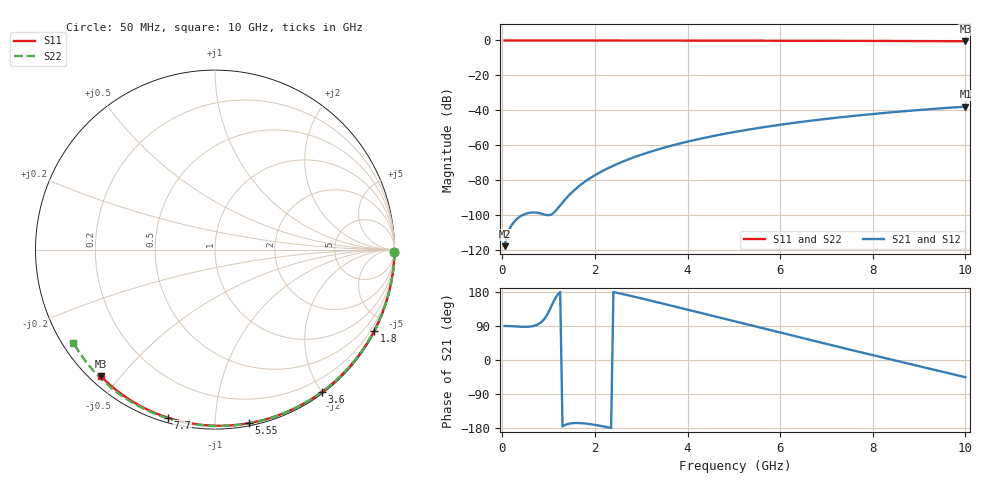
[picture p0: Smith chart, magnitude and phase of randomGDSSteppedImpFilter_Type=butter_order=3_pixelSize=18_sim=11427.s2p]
! freq	dB(S11)	phase(S11)	dB(S12)	phase(S12)
!  dB(S21)	phase(S21)	dB(S22)	phase(S22)
!S-par simulation data
#  GHz  S  DB  R 50
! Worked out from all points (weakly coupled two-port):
!   200 points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, 50 MHz to 10 GHz, reference 50 ohm
!   highest |S21| = -37.83 dB at 10 GHz (marker M1); lowest = -117.6 dB at 50 MHz (marker M2)
!   lowest |S11| = -0.4 dB at 10 GHz (marker M3), VSWR 38.74, Z = 1.55 - j22.2 ohm
!   |S11| at or under -10 dB: nowhere
!   |S22| runs from -0.5 to 0.0 dB; largest |S21 - S12| = 0
!   S11 on the Smith chart (normalised r, x): 50 MHz: open; 1.8 GHz: 0.04, -4.15; 3.6 GHz: 0.02, -2.01; 5.55 GHz: 0.02, -1.21; 7.7 GHz: 0.02, -0.76; 10 GHz: 0.03, -0.44
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0.05  -0.00 -0.8  -117.61 89.9  -117.61 89.9  -0.00 -0.9
0.45  -0.01 -6.9  -99.67 87.5  -99.67 87.5  -0.01 -7.7
0.9  -0.02 -13.7  -99.46 107.2  -99.46 107.2  -0.02 -15.3
1.3  -0.02 -19.7  -92.68 -175.3  -92.68 -175.3  -0.03 -21.9
1.75  -0.03 -26.3  -81.39 -167.1  -81.39 -167.1  -0.04 -29.4
1.8  -0.03 -27.1  -80.44 -167.7  -80.44 -167.7  -0.04 -30.2
1.85  -0.04 -27.8  -79.54 -168.4  -79.54 -168.4  -0.04 -31.0
2.05  -0.04 -30.8  -76.27 -172.2  -76.27 -172.2  -0.04 -34.3
2.2  -0.04 -32.9  -74.14 -175.6  -74.14 -175.6  -0.05 -36.7
2.55  -0.05 -38.0  -69.83 175.4  -69.83 175.4  -0.05 -42.4
2.95  -0.06 -43.8  -65.79 164.1  -65.79 164.1  -0.06 -48.8
3.4  -0.07 -50.1  -62.01 150.9  -62.01 150.9  -0.07 -55.8
3.6  -0.07 -52.9  -60.52 144.9  -60.52 144.9  -0.08 -58.9
4.3  -0.09 -62.6  -56.05 123.7  -56.05 123.7  -0.10 -69.5
5.05  -0.11 -72.6  -52.16 100.9  -52.16 100.9  -0.12 -80.5
5.55  -0.13 -79.1  -49.96 85.8  -49.96 85.8  -0.14 -87.7
6.1  -0.15 -86.0  -47.82 69.2  -47.82 69.2  -0.17 -95.4
6.7  -0.18 -93.5  -45.76 51.2  -45.76 51.2  -0.20 -103.6
7.7  -0.24 -105.5  -42.84 21.6  -42.84 21.6  -0.27 -116.9
8.35  -0.29 -113.2  -41.21 2.6  -41.21 2.6  -0.32 -125.4
9.2  -0.36 -123.0  -39.34 -22.1  -39.34 -22.1  -0.40 -136.3
10  -0.45 -132.0  -37.83 -45.4  -37.83 -45.4  -0.50 -146.7
